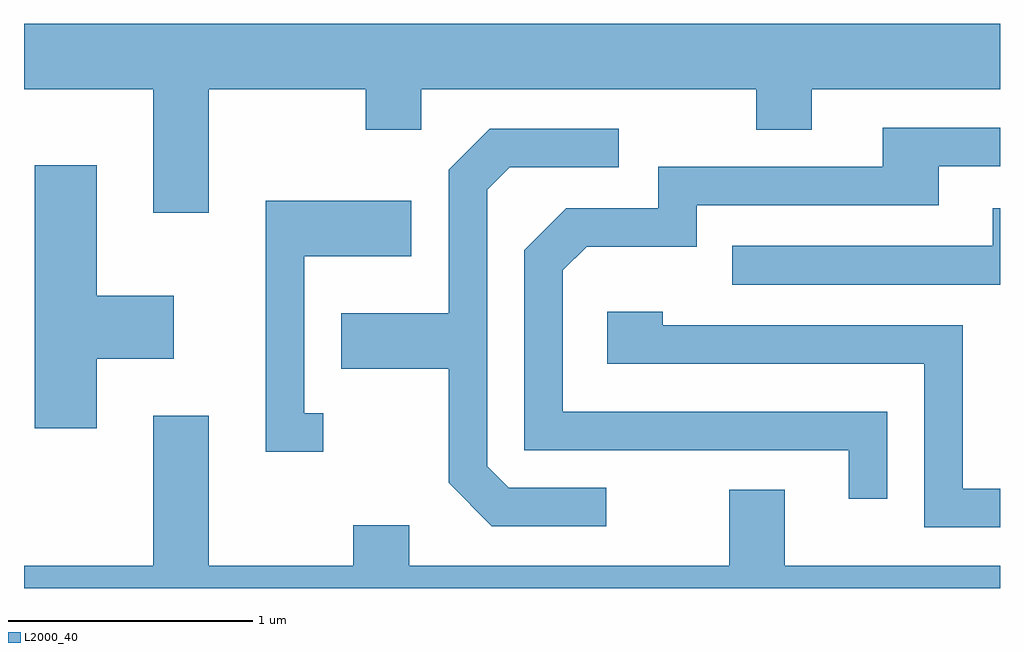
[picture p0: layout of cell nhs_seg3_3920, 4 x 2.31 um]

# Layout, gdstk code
import gdstk
lib = gdstk.Library(unit=1e-6, precision=1e-09)
def P(c, l, *ps):  # polygons
    for p in ps: c.add(gdstk.Polygon(p, *l))
L2000_40 = (2000, 40)

nhs_seg3_3920 = lib.new_cell('nhs_seg3_3920')
P(nhs_seg3_3920, L2000_40, [(300.369,1205.936),(301.011,1205.936),(301.011,1205.771),(301.239,1205.771),(301.239,1205.936),(302.611,1205.936),(302.611,1205.771),(302.839,1205.771),(302.839,1205.936),(303.611,1205.936),(303.611,1206.204),(299.611,1206.204),(299.611,1205.936),(300.141,1205.936),(300.141,1205.431),(300.369,1205.431)],
  [(303.149,1204.614),(301.819,1204.614),(301.819,1205.194),(301.917,1205.291),(302.369,1205.291),(302.369,1205.461),(303.359,1205.461),(303.359,1205.621),(303.611,1205.621),(303.611,1205.779),(303.131,1205.779),(303.131,1205.619),(302.211,1205.619),(302.211,1205.449),(301.834,1205.449),(301.661,1205.277),(301.661,1204.456),(302.991,1204.456),(302.991,1204.258),(303.149,1204.258)],
  [(301.998,1204.304),(301.597,1204.304),(301.509,1204.392),(301.509,1205.524),(301.602,1205.616),(302.048,1205.616),(302.048,1205.774),(301.519,1205.774),(301.351,1205.607),(301.351,1205.019),(300.911,1205.019),(300.911,1204.791),(301.351,1204.791),(301.351,1204.324),(301.529,1204.146),(301.998,1204.146)],
  [(299.909,1204.831),(300.224,1204.831),(300.224,1205.089),(299.909,1205.089),(299.909,1205.624),(299.656,1205.624),(299.656,1204.546),(299.909,1204.546)],
  [(300.838,1204.609),(300.759,1204.609),(300.759,1205.251),(301.199,1205.251),(301.199,1205.479),(300.601,1205.479),(300.601,1204.451),(300.838,1204.451)],
  [(303.611,1205.449),(303.581,1205.449),(303.581,1205.294),(302.513,1205.294),(302.513,1205.136),(303.611,1205.136)],
  [(303.611,1204.299),(303.459,1204.299),(303.459,1204.969),(302.229,1204.969),(302.229,1205.024),(302.001,1205.024),(302.001,1204.811),(303.301,1204.811),(303.301,1204.141),(303.611,1204.141)],
  [(303.611,1203.984),(302.729,1203.984),(302.729,1204.294),(302.501,1204.294),(302.501,1203.984),(301.189,1203.984),(301.189,1204.149),(300.961,1204.149),(300.961,1203.984),(300.369,1203.984),(300.369,1204.599),(300.141,1204.599),(300.141,1203.984),(299.611,1203.984),(299.611,1203.892),(303.611,1203.892)])

lib.write_gds('nhs_seg3_3920.gds')
